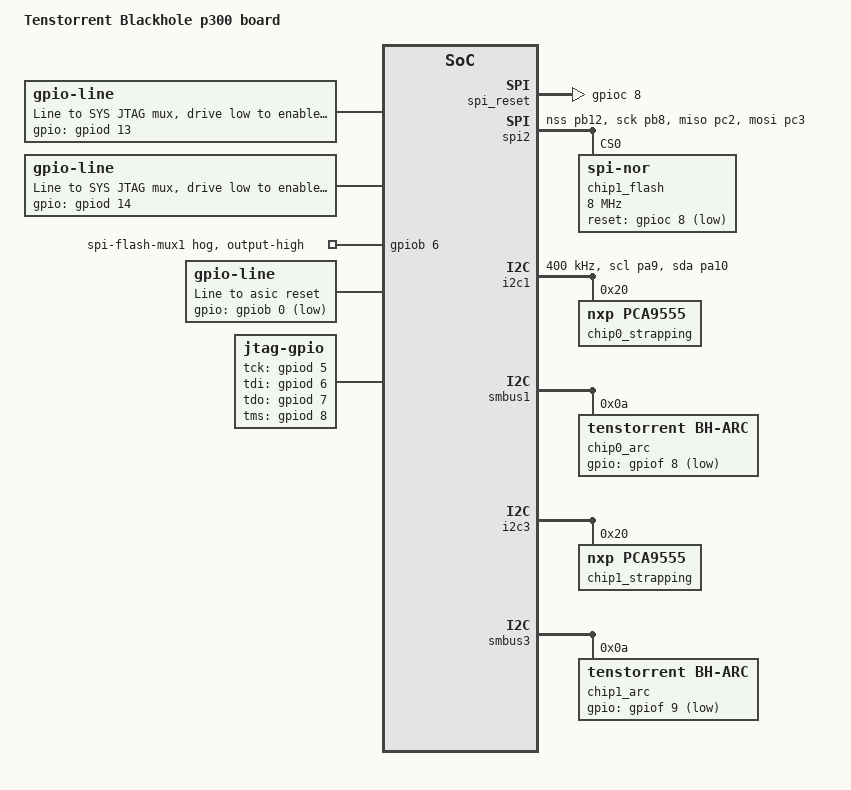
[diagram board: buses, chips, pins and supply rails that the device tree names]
/*
 * Copyright (c) 2024 Tenstorrent AI ULC
 *
 * SPDX-License-Identifier: Apache-2.0
 */

/*
 * Left chip is local (comes up in non bifercation mode) this is referred to as chip1
 * in the schematics
 * Right chip is remote, and is referred to as chip0
 */

/ {
	model = "Tenstorrent Blackhole p300 board";
	compatible = "tenstorrent,blackhole,p300";

	chip1: chip1 {
		compatible = "tenstorrent,bh-chip";

		asic_reset {
			compatible = "zephyr,gpio-line";
			label = "Line to asic reset";
			gpios = <&gpiob 1 GPIO_ACTIVE_LOW>;
		};

		spi_reset {
			compatible = "zephyr,gpio-line";
			label = "Line to SPI reset";
			gpios = <&gpioc 8 GPIO_ACTIVE_LOW>;
		};

		pgood {
			compatible = "zephyr,gpio-line";
			label = "PGOOD signal for asic 1";
			gpios = <&gpioc 5 GPIO_PULL_DOWN>;
		};

		therm_trip {
			compatible = "zephyr,gpio-line";
			label = "Thermal trip indicator";
			gpios = <&gpioc 9 GPIO_ACTIVE_HIGH>;
		};

		jtag {
			compatible = "zephyr,jtag-gpio";
			status = "okay";
			tck-gpios = <&gpiod 9 GPIO_ACTIVE_HIGH>;
			tdi-gpios = <&gpiod 10 GPIO_ACTIVE_HIGH>;
			tdo-gpios = <&gpiod 11 GPIO_ACTIVE_HIGH>;
			tms-gpios = <&gpiod 12 GPIO_ACTIVE_HIGH>;
			port-write-cycles = <2>;
			tck-delay = <1>;
		};

		strapping {
			gpio6 {
				compatible = "zephyr,gpio-line";
				label = "GPIO pin representing strap gpio6";
				gpios = <&chip1_strapping 4 GPIO_ACTIVE_HIGH>;
			};
		};

		flash = <&chip1_flash>;
		spi_mux {
			compatible = "zephyr,gpio-line";
			label = "Line to spi mux, drive low to enable bmfw -> eeprom";
			gpios = <&gpiob 6 GPIO_ACTIVE_LOW>;
		};

		arc = <&chip1_arc>;
	};

	arc_jtag_mux {
		compatible = "zephyr,gpio-line";
		label = "Line to SYS JTAG mux, drive low to enable bmfw -> eeprom";
		gpios = <&gpiod 13 GPIO_ACTIVE_HIGH>;
	};

	sys_jtag_mux {
		compatible = "zephyr,gpio-line";
		label = "Line to SYS JTAG mux, drive low to enable bmfw -> eeprom";
		gpios = <&gpiod 14 GPIO_ACTIVE_HIGH>;
	};

	chips {
		compatible = "tenstorrent,bh-chips";
		chips = <&chip1 &chip0>;
		primary = <0>;
	};
};

/*
 * Added these pinctrl definitions from the file stm32g0b1v(b-c-e)ix-pinctrl.dtsi.
 * These are not included in our default dtsi file stm32g0b1c(b-c-e)tx-pinctrl.dtsi
 * but are required to configure the hardware spi "spi2".
 * This is maybe a sign that we need to rethink our board hierarchy, but for now this
 * seems like a "good enough" workaround.
 */
&pinctrl {
	/omit-if-no-ref/ spi2_nss_pb12: spi2_nss_pb12 {
		pinmux = <STM32_PINMUX('B', 12, AF0)>;
		bias-pull-up;
	};

	/omit-if-no-ref/ spi2_sck_pb8: spi2_sck_pb8 {
		pinmux = <STM32_PINMUX('B', 8, AF1)>;
		bias-pull-down;
		slew-rate = "very-high-speed";
	};

	/omit-if-no-ref/ spi2_miso_pc2: spi2_miso_pc2 {
		pinmux = <STM32_PINMUX('C', 2, AF1)>;
		bias-pull-down;
	};

	/omit-if-no-ref/ spi2_mosi_pc3: spi2_mosi_pc3 {
		pinmux = <STM32_PINMUX('C', 3, AF1)>;
		bias-pull-down;
	};
};

/*
 * Chip 1
 * sck: PA6
 * SO PC2
 * SI: PC3
 * RST: pc8
 * CS: pb12
 */
&spi2 {
	pinctrl-0 = <&spi2_nss_pb12 &spi2_sck_pb8
			 &spi2_miso_pc2 &spi2_mosi_pc3>;
	pinctrl-names = "default";
	status = "okay";

	chip1_flash: flash@0 {
		/* base properties */
		compatible = "jedec,spi-nor";
		status = "okay";

		reset-gpios = <&gpioc 8 (GPIO_ACTIVE_LOW | GPIO_PULL_UP)>;

		/* spi-device properties */
		reg = <0>;
		spi-max-frequency = <7999999>;
		spi-cpol;
		spi-cpha;

		/* jedec,spi-nor properties */
		size = <DT_SIZE_M(512)>; /* Size in bits */

		/* jedec,spi-nor-common properties */
		has-dpd;
		t-enter-dpd = <3000>;
		t-exit-dpd = <30000>;

		jedec-id = [20 bb 20];
	};
};

&gpiob {
	spi-flash-mux1 {
		gpio-hog;
		gpios = <6 GPIO_ACTIVE_HIGH>;
		output-high;
	};
};

/*
 * Chip 0
 * nss: PA4 CS (spi1_nss_pa4)
 * SO PA11 (spi1_miso_pa11)
 * SI PA12 (spi1_mosi_pa12)
 * RST PC7
 * SCK: pb3 (spi1_sck_pb3)
 */
&chip0 {
	compatible = "tenstorrent,bh-chip";

	asic_reset {
		compatible = "zephyr,gpio-line";
		label = "Line to asic reset";
		gpios = <&gpiob 0 GPIO_ACTIVE_LOW>;
	};

	jtag {
		compatible = "zephyr,jtag-gpio";
		status = "okay";
		tck-gpios = <&gpiod 5 GPIO_ACTIVE_HIGH>;
		tdi-gpios = <&gpiod 6 GPIO_ACTIVE_HIGH>;
		tdo-gpios = <&gpiod 7 GPIO_ACTIVE_HIGH>;
		tms-gpios = <&gpiod 8 GPIO_ACTIVE_HIGH>;
		port-write-cycles = <2>;
		tck-delay = <1>;
	};

	flash = <&flash1>;

	arc = <&chip0_arc>;
};

&i2c1 {
	pinctrl-0 = <&i2c1_scl_pa9 &i2c1_sda_pa10>;
	pinctrl-names = "default";
	status = "okay";
	clock-frequency = <I2C_BITRATE_FAST>;
	compatible = "st,tt-stm32-i2c";

	scl-gpios = <&gpioa 9 GPIO_OPEN_DRAIN>;
	sda-gpios = <&gpioa 10 GPIO_OPEN_DRAIN>;

	chip0_strapping: strapping_expander@20 {
		compatible = "nxp,pca9555";
		status = "okay";

		#gpio-cells = <2>;
		ngpios = <16>;
		reg = <0x20>;
		gpio-controller;
	};
};

/*
 * On the p300 the location of the chip0_arc was changed from smbus3 to smbus1 and the chip1
 * ARC is now located on smbus3. In order to avoid confusion by assigning chip0_arc to chip1 I
 * deleted it and defined both chip0_arc and chip1_arc on their respective busses.
 */
/delete-node/ &chip0_arc;

/*
 * I2C1_SW_EN is F8
 * I2C1 is I2C1
 * I2C1 is Chip0
 */
&smbus1 {
	status = "okay";
	compatible = "st,tt-stm32-smbus";

	chip0_arc: bh_arc@A {
		compatible = "tenstorrent,bh-arc";
		reg = <0xA>;

		gpios = <&gpiof 8 GPIO_ACTIVE_LOW>;
	};
};

&i2c3 {
	status = "okay";

	chip1_strapping: strapping_expander@20 {
		compatible = "nxp,pca9555";
		status = "okay";

		#gpio-cells = <2>;
		ngpios = <16>;
		reg = <0x20>;
		gpio-controller;
	};
};

/*
 * I2C0_SW_EN is F9
 * I2C0 is I2C3
 * I2C0 is Chip1
 */
&smbus3 {
	chip1_arc: bh_arc@A {
		compatible = "tenstorrent,bh-arc";
		reg = <0xA>;

		gpios = <&gpiof 9 GPIO_ACTIVE_LOW>;
	};
};
